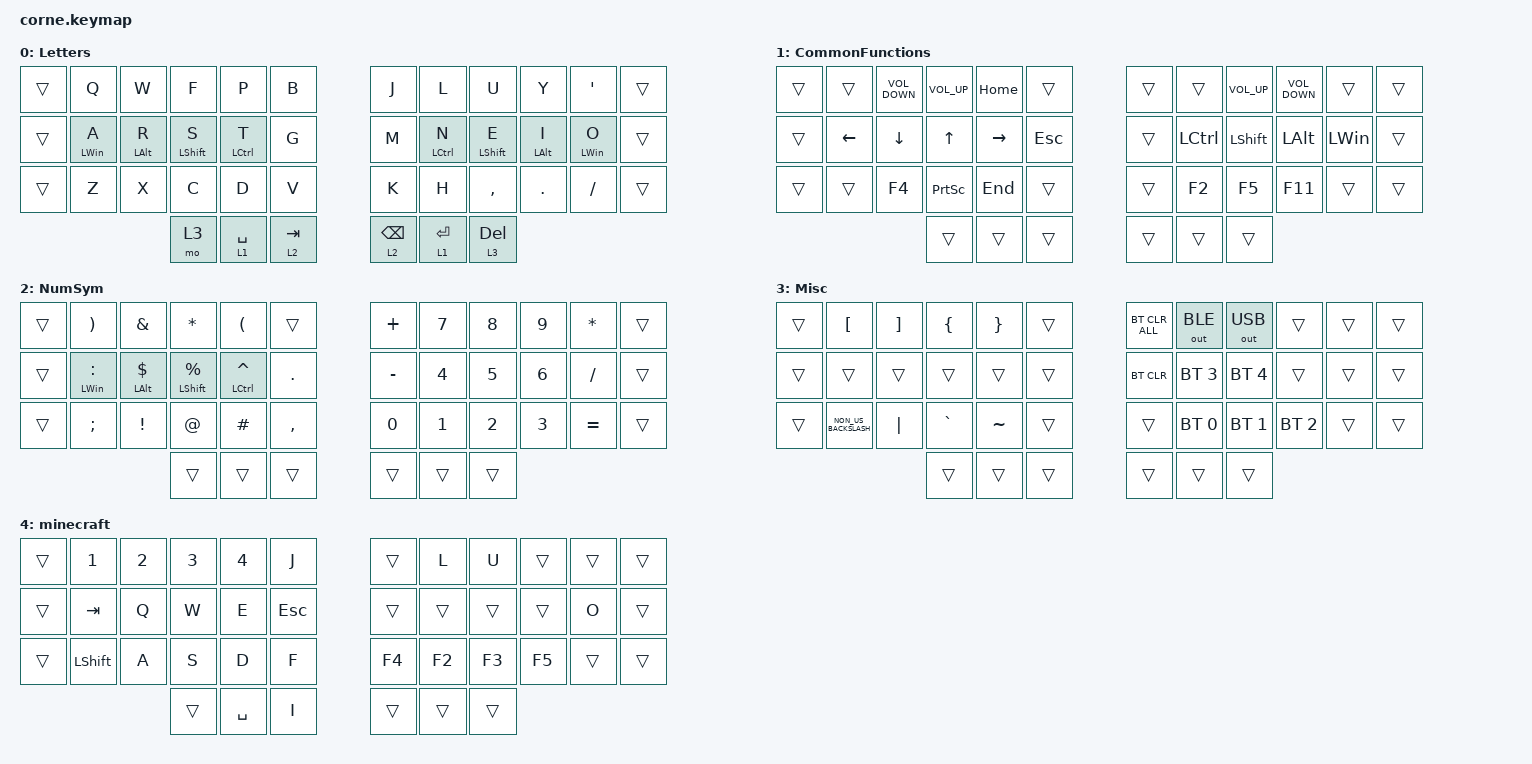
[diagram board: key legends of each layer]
/*
 * Copyright (c) 2020 The ZMK Contributors
 *
 * SPDX-License-Identifier: MIT
 */

#include <behaviors.dtsi>
#include <dt-bindings/zmk/bt.h>
#include <dt-bindings/zmk/keys.h>
#include <dt-bindings/zmk/outputs.h>

/ {
    combos {
        compatible = "zmk,combos";

        Capslock {
            bindings = <&kp CAPS>;
            key-positions = <25 34>;
        };

        minecraft {
            bindings = <&tog 4>;
            key-positions = <36 41>;
        };
    };

    behaviors {
        ht_bl: balanced_homerow_mods {
            compatible = "zmk,behavior-hold-tap";
            #binding-cells = <2>;
            tapping-term-ms = <200>;    // <---[[moderate duration]]
            quick-tap-ms = <0>;
            flavor = "balanced";
            bindings = <&kp>, <&kp>;
        };
    };

    keymap {
        compatible = "zmk,keymap";

        Letters {
            // -----------------------------------------------------------------------------------------
            // |  TAB |  Q  |  W  |  E  |  R  |  T  |   |  Y  |  U   |  I  |  O  |  P  | BKSP |
            // | CTRL |  A  |  S  |  D  |  F  |  G  |   |  H  |  J   |  K  |  L  |  ;  |  '   |
            // | SHFT |  Z  |  X  |  C  |  V  |  B  |   |  N  |  M   |  ,  |  .  |  /  | ESC  |
            //                    | GUI | LWR | SPC |   | ENT | RSE  | ALT |

            bindings = <
&trans  &kp Q              &kp W              &kp F                &kp P           &kp B        &kp J            &kp L           &kp U                &kp Y              &kp SQT            &trans
&trans  &ht_bl LEFT_WIN A  &ht_bl LEFT_ALT R  &ht_bl LEFT_SHIFT S  &ht_bl LCTRL T  &kp G        &kp M            &ht_bl LCTRL N  &ht_bl LEFT_SHIFT E  &ht_bl LEFT_ALT I  &ht_bl LEFT_WIN O  &trans
&trans  &kp Z              &kp X              &kp C                &kp D           &kp V        &kp K            &kp H           &kp COMMA            &kp DOT            &kp FSLH           &trans
                                              &mo 3                &lt 1 SPACE     &lt 2 TAB    &lt 2 BACKSPACE  &lt 1 ENTER     &lt 3 DELETE
            >;
        };

        CommonFunctions {
            // -----------------------------------------------------------------------------------------
            // |  TAB |  !  |  @  |  #  |  $  |  %  |   |  ^  |  &  |  *  |  (  |  )  | BKSP |
            // | CTRL |     |     |     |     |     |   |  -  |  =  |  [  |  ]  |  \  |  `   |
            // | SHFT |     |     |     |     |     |   |  _  |  +  |  {  |  }  | "|" |  ~   |
            //                    | GUI |     | SPC |   | ENT |     | ALT |

            bindings = <
&trans  &trans    &kp C_VOLUME_DOWN  &kp C_VOLUME_UP  &kp HOME   &trans        &trans  &trans     &kp C_VOLUME_UP  &kp C_VOLUME_DOWN  &trans        &trans
&trans  &kp LEFT  &kp DOWN           &kp UP           &kp RIGHT  &kp ESCAPE    &trans  &kp LCTRL  &kp LEFT_SHIFT   &kp LEFT_ALT       &kp LEFT_WIN  &trans
&trans  &trans    &kp F4             &kp PRINTSCREEN  &kp END    &trans        &trans  &kp F2     &kp F5           &kp F11            &trans        &trans
                                     &trans           &trans     &trans        &trans  &trans     &trans
            >;
        };

        NumSym {
            // -----------------------------------------------------------------------------------------
            // |  TAB |  1  |  2  |  3  |  4  |  5  |   |  6  |  7  |  8  |  9  |  0  | BKSP |
            // | BTCLR| BT1 | BT2 | BT3 | BT4 | BT5 |   | LFT | DWN |  UP | RGT |     |      |
            // | SHFT |     |     |     |     |     |   |     |     |     |     |     |      |
            //                    | GUI |     | SPC |   | ENT |     | ALT |

            bindings = <
&trans  &kp RIGHT_PARENTHESIS  &kp AMPERSAND           &kp ASTERISK               &kp LEFT_PARENTHESIS  &trans        &kp PLUS   &kp N7        &kp N8        &kp N9        &kp ASTERISK  &trans
&trans  &ht_bl LEFT_WIN COLON  &ht_bl LEFT_ALT DOLLAR  &ht_bl LEFT_SHIFT PERCENT  &ht_bl LCTRL CARET    &kp PERIOD    &kp MINUS  &kp NUMBER_4  &kp N5        &kp NUMBER_6  &kp SLASH     &trans
&trans  &kp SEMICOLON          &kp EXCLAMATION         &kp AT_SIGN                &kp HASH              &kp COMMA     &kp N0     &kp NUMBER_1  &kp NUMBER_2  &kp NUMBER_3  &kp EQUAL     &trans
                                                       &trans                     &trans                &trans        &trans     &trans        &trans
            >;
        };

        Misc {
            bindings = <
&trans  &kp LEFT_BRACKET      &kp RIGHT_BRACKET  &kp LEFT_BRACE  &kp RIGHT_BRACE  &trans    &bt BT_CLR_ALL  &out OUT_BLE  &out OUT_USB  &trans        &trans  &trans
&trans  &trans                &trans             &trans          &trans           &trans    &bt BT_CLR      &bt BT_SEL 3  &bt BT_SEL 4  &trans        &trans  &trans
&trans  &kp NON_US_BACKSLASH  &kp PIPE           &kp GRAVE       &kp TILDE        &trans    &trans          &bt BT_SEL 0  &bt BT_SEL 1  &bt BT_SEL 2  &trans  &trans
                                                 &trans          &trans           &trans    &trans          &trans        &trans
            >;
        };

        minecraft {
            bindings = <
&trans  &kp N1     &kp N2  &kp N3  &kp N4     &kp J         &trans  &kp L   &kp U   &trans  &trans  &trans
&trans  &kp TAB    &kp Q   &kp W   &kp E      &kp ESCAPE    &trans  &trans  &trans  &trans  &kp O   &trans
&trans  &kp LSHFT  &kp A   &kp S   &kp D      &kp F         &kp F4  &kp F2  &kp F3  &kp F5  &trans  &trans
                           &trans  &kp SPACE  &kp I         &trans  &trans  &trans
            >;
        };
    };
};
